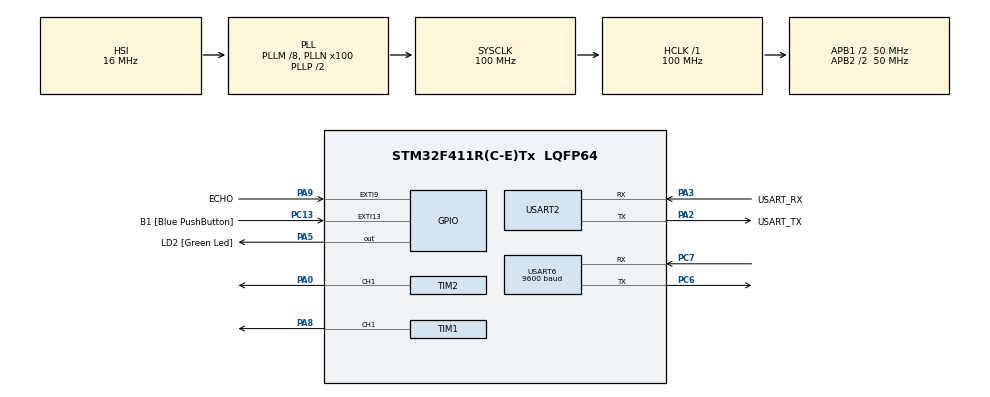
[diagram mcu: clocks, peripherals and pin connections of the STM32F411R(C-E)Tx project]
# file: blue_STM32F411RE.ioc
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Dma.Request0=USART6_RX
Dma.Request1=USART6_TX
Dma.USART6_RX.0.Direction=DMA_PERIPH_TO_MEMORY
Dma.USART6_RX.0.FIFOMode=DMA_FIFOMODE_DISABLE
Dma.USART6_RX.0.Instance=DMA2_Stream1
Dma.USART6_RX.0.MemDataAlignment=DMA_MDATAALIGN_BYTE
Dma.USART6_RX.0.MemInc=DMA_MINC_ENABLE
Dma.USART6_RX.0.Mode=DMA_NORMAL
Dma.USART6_RX.0.PeriphDataAlignment=DMA_PDATAALIGN_BYTE
Dma.USART6_RX.0.PeriphInc=DMA_PINC_DISABLE
Dma.USART6_RX.0.Priority=DMA_PRIORITY_LOW
Dma.USART6_TX.1.Direction=DMA_MEMORY_TO_PERIPH
Dma.USART6_TX.1.FIFOMode=DMA_FIFOMODE_DISABLE
Dma.USART6_TX.1.Instance=DMA2_Stream6
Dma.USART6_TX.1.MemDataAlignment=DMA_MDATAALIGN_BYTE
Dma.USART6_TX.1.MemInc=DMA_MINC_ENABLE
Dma.USART6_TX.1.Mode=DMA_NORMAL
Dma.USART6_TX.1.PeriphDataAlignment=DMA_PDATAALIGN_BYTE
Dma.USART6_TX.1.PeriphInc=DMA_PINC_DISABLE
Dma.USART6_TX.1.Priority=DMA_PRIORITY_LOW
Mcu.Family=STM32F4
Mcu.Name=STM32F411R(C-E)Tx
Mcu.Package=LQFP64
NVIC.DMA2_Stream1_IRQn=true\:0\:0\:false\:false\:true\:false\:true\:true
NVIC.DMA2_Stream6_IRQn=true\:0\:0\:false\:false\:true\:false\:true\:true
NVIC.EXTI9_5_IRQn=true\:0\:0\:false\:false\:true\:true\:true\:true
NVIC.PriorityGroup=NVIC_PRIORITYGROUP_0
NVIC.USART6_IRQn=true\:0\:0\:false\:false\:true\:true\:true\:true
PA0-WKUP.Signal=S_TIM2_CH1_ETR
PA13.GPIO_Label=TMS
PA13.Mode=Serial_Wire
PA13.Signal=SYS_JTMS-SWDIO
PA14.GPIO_Label=TCK
PA14.Mode=Serial_Wire
PA14.Signal=SYS_JTCK-SWCLK
PA2.GPIO_Label=USART_TX
PA2.Mode=Asynchronous
PA2.Signal=USART2_TX
PA3.GPIO_Label=USART_RX
PA3.Mode=Asynchronous
PA3.Signal=USART2_RX
PA5.GPIO_Label=LD2 [Green Led]
PA5.Signal=GPIO_Output
PA8.Signal=S_TIM1_CH1
PA9.GPIO_Label=ECHO
PA9.GPIO_ModeDefaultEXTI=GPIO_MODE_IT_FALLING
PA9.Signal=GPXTI9
PB3.GPIO_Label=SWO
PB3.Signal=SYS_JTDO-SWO
PC13-ANTI_TAMP.GPIO_Label=B1 [Blue PushButton]
PC13-ANTI_TAMP.GPIO_ModeDefaultEXTI=GPIO_MODE_IT_FALLING
PC13-ANTI_TAMP.Signal=GPXTI13
PC14-OSC32_IN.Mode=LSE-External-Oscillator
PC14-OSC32_IN.Signal=RCC_OSC32_IN
PC15-OSC32_OUT.Mode=LSE-External-Oscillator
PC15-OSC32_OUT.Signal=RCC_OSC32_OUT
PC6.Mode=Asynchronous
PC6.Signal=USART6_TX
PC7.Mode=Asynchronous
PC7.Signal=USART6_RX
PH0\ -\ OSC_IN.Mode=HSE-External-Clock-Source
PH0\ -\ OSC_IN.Signal=RCC_OSC_IN
PH1\ -\ OSC_OUT.Mode=HSE-External-Clock-Source
PH1\ -\ OSC_OUT.Signal=RCC_OSC_OUT
ProjectManager.HeapSize=0x200
ProjectManager.StackSize=0x400
ProjectManager.TargetToolchain=STM32CubeIDE
RCC.48MHZClocksFreq_Value=50000000
RCC.AHBFreq_Value=100000000
RCC.APB1CLKDivider=RCC_HCLK_DIV2
RCC.APB1Freq_Value=50000000
RCC.APB1TimFreq_Value=100000000
RCC.APB2CLKDivider=RCC_HCLK_DIV2
RCC.APB2Freq_Value=50000000
RCC.APB2TimFreq_Value=100000000
RCC.CortexFreq_Value=100000000
RCC.FLatency-AdvancedSettings=FLASH_LATENCY_3
RCC.HCLKFreq_Value=100000000
RCC.HSE_VALUE=8000000
RCC.HSI_VALUE=16000000
RCC.PLLM=8
RCC.PLLN=100
RCC.SYSCLKFreq_VALUE=100000000
RCC.SYSCLKSource=RCC_SYSCLKSOURCE_PLLCLK
RCC.VCOOutputFreq_Value=200000000
SH.S_TIM1_CH1.0=TIM1_CH1,PWM Generation1 CH1
SH.S_TIM2_CH1_ETR.0=TIM2_CH1,PWM Generation1 CH1
TIM1.Channel-PWM\ Generation1\ CH1=TIM_CHANNEL_1
TIM1.Period=5000
TIM1.Prescaler=1000
TIM1.Pulse-PWM\ Generation1\ CH1=5
TIM2.Channel-PWM\ Generation1\ CH1=TIM_CHANNEL_1
TIM2.Period=1000
TIM2.Pulse-PWM\ Generation1\ CH1=0
USART2.VirtualMode=VM_ASYNC
USART6.BaudRate=9600
USART6.VirtualMode=VM_ASYNC
VP_TIM1_VS_ClockSourceINT.Mode=Internal
VP_TIM2_VS_ClockSourceINT.Mode=Internal
board=NUCLEO-F411RE

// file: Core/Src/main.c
/* USER CODE BEGIN Header */
/**
  ******************************************************************************
  * @file           : main.c
  * @brief          : Main program body
  ******************************************************************************
  * @attention
  *
  * Copyright (c) 2025 STMicroelectronics.
  * All rights reserved.
  *
  * This software is licensed under terms that can be found in the LICENSE file
  * in the root directory of this software component.
  * If no LICENSE file comes with this software, it is provided AS-IS.
  *
  ******************************************************************************
  */
/* USER CODE END Header */
#include "main.h"

/* USER CODE BEGIN Includes */
#include <string.h>
#include "paser.h"
/* USER CODE END Includes */

/* USER CODE BEGIN PD */
#define MAX_CMD_LEN 10
#define BUFFER_LEN 200
/* USER CODE END PD */

TIM_HandleTypeDef htim1;
TIM_HandleTypeDef htim2;

UART_HandleTypeDef huart2;
UART_HandleTypeDef huart6;
DMA_HandleTypeDef hdma_usart6_rx;
DMA_HandleTypeDef hdma_usart6_tx;

void SystemClock_Config(void);
static void MX_GPIO_Init(void);
static void MX_DMA_Init(void);
static void MX_USART2_UART_Init(void);
static void MX_USART6_UART_Init(void);
static void MX_TIM1_Init(void);
static void MX_TIM2_Init(void);

/* USER CODE BEGIN 0 */
/**************************/
//bluetooth
uint8_t tx_flag = 0;
uint8_t rx_flag = 0;

char rx_l_buf = 0;
uint32_t rx_header = 0;
uint32_t rx_length = 0;

char blue_tx_buf[BUFFER_LEN];
char blue_rx_buf[BUFFER_LEN];

uint8_t all_count = 0;

char* cmd[MAX_CMD_LEN];

/**************************/
//distance sensor
uint32_t trg_clk = 5;
uint32_t echo_clk = 0;
uint32_t d_clk = 0;

uint32_t sonic_start_tick = 0;
const uint32_t sonic_d_tick = 2000;

uint32_t sonic_past = 0;
const uint32_t dd_clk = 120;

uint8_t fall_detected = 0;

uint32_t debug_past_clk = 0;
uint32_t debug_now_clk = 0;

/**************************/
//motor
const uint32_t motor_d_tick = 2000;
const uint32_t motor_duty =1000;
const uint32_t motor_duty_s = 50;

uint32_t motor_start_tick = 0;
uint8_t motor_flag = 0;

uint32_t debug_tick = 0;

/**************************/
//callback
void HAL_UART_RxCpltCallback(UART_HandleTypeDef *huart){
	if(rx_header >= BUFFER_LEN){
		rx_header = 0;
	}
	if(rx_l_buf == '\r' || rx_l_buf == '\n'){
		rx_flag = 1;
		rx_length = rx_header;
		rx_header = 0;
	}else{
		blue_rx_buf[rx_header] = rx_l_buf;
		rx_header++;
	}

	HAL_UART_Receive_DMA(&huart6, (uint8_t*)&rx_l_buf, 1);
}

void HAL_GPIO_EXTI_Callback(uint16_t GPIO_Pin){
	if(GPIO_Pin == ECHO_Pin){
		echo_clk = htim1.Instance->CNT;
		if(echo_clk > 300) echo_clk = 300+trg_clk;
	}
}

void read_rx_buf(){
	if(rx_flag == 1){
		parse_order_string(blue_rx_buf);
		memset(blue_rx_buf, 0, rx_length);
		all_count = get_total_quantity();
		rx_flag = 0;
	}
}

void measure_distance(){
	  //flag
	if(echo_clk > trg_clk){
		d_clk = echo_clk - trg_clk;
	}
}

void detect_falling(){
	if(abs((d_clk - sonic_past)>dd_clk && sonic_past != 0) && (sonic_past > d_clk)){
		debug_past_clk = sonic_past;
		debug_now_clk = d_clk;
		fall_detected = 1;
		sonic_start_tick = HAL_GetTick();
	}
	sonic_past = d_clk;
}

/* USER CODE END 0 */

int main(void)
{

  /* MCU Configuration--------------------------------------------------------*/

  /* Reset of all peripherals, Initializes the Flash interface and the Systick. */
  HAL_Init();

  /* Configure the system clock */
  SystemClock_Config();

  /* Initialize all configured peripherals */
  MX_GPIO_Init();
  MX_DMA_Init();
  MX_USART2_UART_Init();
  MX_USART6_UART_Init();
  MX_TIM1_Init();
  MX_TIM2_Init();
  /* USER CODE BEGIN 2 */
  HAL_UART_Receive_DMA(&huart6, (uint8_t*)&rx_l_buf, 1);
  HAL_TIM_PWM_Start(&htim1, TIM_CHANNEL_1);
  HAL_TIM_PWM_Start(&htim2, TIM_CHANNEL_1);

  htim2.Instance->CCR1 = 0;
  /* USER CODE END 2 */

  /* Infinite loop */
  /* USER CODE BEGIN WHILE */
  while (1)
  {
	  read_rx_buf();
	  measure_distance();
	  //sampling
	  if((HAL_GetTick() - sonic_start_tick) > sonic_d_tick){
		  detect_falling();
	  }

	  if((all_count > 0) && (motor_flag != 1)){
		  motor_flag = 1;
		  motor_start_tick = HAL_GetTick();
		  fall_detected = 0;
	  }

	  debug_tick = HAL_GetTick();

	  //active
	  if(motor_flag == 1){
		  if((HAL_GetTick() - motor_start_tick) > motor_d_tick){
			  htim2.Instance->CCR1 = 0;
		  }
		  else if(motor_start_tick > HAL_GetTick()){
			  motor_start_tick = HAL_GetTick();
		  }else{
			  htim2.Instance->CCR1 = motor_duty;
		  }
		  if(fall_detected == 1){
			  htim2.Instance->CCR1 = 0;
			  motor_flag = 0;
			  all_count--;
		  }

	  }
    /* USER CODE END WHILE */

  }
}

void SystemClock_Config(void)
{
  RCC_OscInitTypeDef RCC_OscInitStruct = {0};
  RCC_ClkInitTypeDef RCC_ClkInitStruct = {0};

  /** Configure the main internal regulator output voltage
  */
  __HAL_RCC_PWR_CLK_ENABLE();
  __HAL_PWR_VOLTAGESCALING_CONFIG(PWR_REGULATOR_VOLTAGE_SCALE1);

  /** Initializes the RCC Oscillators according to the specified parameters
  * in the RCC_OscInitTypeDef structure.
  */
  RCC_OscInitStruct.OscillatorType = RCC_OSCILLATORTYPE_HSI;
  RCC_OscInitStruct.HSIState = RCC_HSI_ON;
  RCC_OscInitStruct.HSICalibrationValue = RCC_HSICALIBRATION_DEFAULT;
  RCC_OscInitStruct.PLL.PLLState = RCC_PLL_ON;
  RCC_OscInitStruct.PLL.PLLSource = RCC_PLLSOURCE_HSI;
  RCC_OscInitStruct.PLL.PLLM = 8;
  RCC_OscInitStruct.PLL.PLLN = 100;
  RCC_OscInitStruct.PLL.PLLP = RCC_PLLP_DIV2;
  RCC_OscInitStruct.PLL.PLLQ = 4;
  if (HAL_RCC_OscConfig(&RCC_OscInitStruct) != HAL_OK)
  {
    Error_Handler();
  }

  /** Initializes the CPU, AHB and APB buses clocks
  */
  RCC_ClkInitStruct.ClockType = RCC_CLOCKTYPE_HCLK|RCC_CLOCKTYPE_SYSCLK
                              |RCC_CLOCKTYPE_PCLK1|RCC_CLOCKTYPE_PCLK2;
  RCC_ClkInitStruct.SYSCLKSource = RCC_SYSCLKSOURCE_PLLCLK;
  RCC_ClkInitStruct.AHBCLKDivider = RCC_SYSCLK_DIV1;
  RCC_ClkInitStruct.APB1CLKDivider = RCC_HCLK_DIV2;
  RCC_ClkInitStruct.APB2CLKDivider = RCC_HCLK_DIV2;

  if (HAL_RCC_ClockConfig(&RCC_ClkInitStruct, FLASH_LATENCY_3) != HAL_OK)
  {
    Error_Handler();
  }
}

static void MX_TIM1_Init(void)
{

  TIM_ClockConfigTypeDef sClockSourceConfig = {0};
  TIM_MasterConfigTypeDef sMasterConfig = {0};
  TIM_OC_InitTypeDef sConfigOC = {0};
  TIM_BreakDeadTimeConfigTypeDef sBreakDeadTimeConfig = {0};

  htim1.Instance = TIM1;
  htim1.Init.Prescaler = 1000;
  htim1.Init.CounterMode = TIM_COUNTERMODE_UP;
  htim1.Init.Period = 5000;
  htim1.Init.ClockDivision = TIM_CLOCKDIVISION_DIV1;
  htim1.Init.RepetitionCounter = 0;
  htim1.Init.AutoReloadPreload = TIM_AUTORELOAD_PRELOAD_DISABLE;
  if (HAL_TIM_Base_Init(&htim1) != HAL_OK)
  {
    Error_Handler();
  }
  sClockSourceConfig.ClockSource = TIM_CLOCKSOURCE_INTERNAL;
  if (HAL_TIM_ConfigClockSource(&htim1, &sClockSourceConfig) != HAL_OK)
  {
    Error_Handler();
  }
  if (HAL_TIM_PWM_Init(&htim1) != HAL_OK)
  {
    Error_Handler();
  }
  sMasterConfig.MasterOutputTrigger = TIM_TRGO_RESET;
  sMasterConfig.MasterSlaveMode = TIM_MASTERSLAVEMODE_DISABLE;
  if (HAL_TIMEx_MasterConfigSynchronization(&htim1, &sMasterConfig) != HAL_OK)
  {
    Error_Handler();
  }
  sConfigOC.OCMode = TIM_OCMODE_PWM1;
  sConfigOC.Pulse = 5;
  sConfigOC.OCPolarity = TIM_OCPOLARITY_HIGH;
  sConfigOC.OCNPolarity = TIM_OCNPOLARITY_HIGH;
  sConfigOC.OCFastMode = TIM_OCFAST_DISABLE;
  sConfigOC.OCIdleState = TIM_OCIDLESTATE_RESET;
  sConfigOC.OCNIdleState = TIM_OCNIDLESTATE_RESET;
  if (HAL_TIM_PWM_ConfigChannel(&htim1, &sConfigOC, TIM_CHANNEL_1) != HAL_OK)
  {
    Error_Handler();
  }
  sBreakDeadTimeConfig.OffStateRunMode = TIM_OSSR_DISABLE;
  sBreakDeadTimeConfig.OffStateIDLEMode = TIM_OSSI_DISABLE;
  sBreakDeadTimeConfig.LockLevel = TIM_LOCKLEVEL_OFF;
  sBreakDeadTimeConfig.DeadTime = 0;
  sBreakDeadTimeConfig.BreakState = TIM_BREAK_DISABLE;
  sBreakDeadTimeConfig.BreakPolarity = TIM_BREAKPOLARITY_HIGH;
  sBreakDeadTimeConfig.AutomaticOutput = TIM_AUTOMATICOUTPUT_DISABLE;
  if (HAL_TIMEx_ConfigBreakDeadTime(&htim1, &sBreakDeadTimeConfig) != HAL_OK)
  {
    Error_Handler();
  }
  HAL_TIM_MspPostInit(&htim1);

}

static void MX_TIM2_Init(void)
{

  TIM_ClockConfigTypeDef sClockSourceConfig = {0};
  TIM_MasterConfigTypeDef sMasterConfig = {0};
  TIM_OC_InitTypeDef sConfigOC = {0};

  htim2.Instance = TIM2;
  htim2.Init.Prescaler = 0;
  htim2.Init.CounterMode = TIM_COUNTERMODE_UP;
  htim2.Init.Period = 1000;
  htim2.Init.ClockDivision = TIM_CLOCKDIVISION_DIV1;
  htim2.Init.AutoReloadPreload = TIM_AUTORELOAD_PRELOAD_DISABLE;
  if (HAL_TIM_Base_Init(&htim2) != HAL_OK)
  {
    Error_Handler();
  }
  sClockSourceConfig.ClockSource = TIM_CLOCKSOURCE_INTERNAL;
  if (HAL_TIM_ConfigClockSource(&htim2, &sClockSourceConfig) != HAL_OK)
  {
    Error_Handler();
  }
  if (HAL_TIM_PWM_Init(&htim2) != HAL_OK)
  {
    Error_Handler();
  }
  sMasterConfig.MasterOutputTrigger = TIM_TRGO_RESET;
  sMasterConfig.MasterSlaveMode = TIM_MASTERSLAVEMODE_DISABLE;
  if (HAL_TIMEx_MasterConfigSynchronization(&htim2, &sMasterConfig) != HAL_OK)
  {
    Error_Handler();
  }
  sConfigOC.OCMode = TIM_OCMODE_PWM1;
  sConfigOC.Pulse = 0;
  sConfigOC.OCPolarity = TIM_OCPOLARITY_HIGH;
  sConfigOC.OCFastMode = TIM_OCFAST_DISABLE;
  if (HAL_TIM_PWM_ConfigChannel(&htim2, &sConfigOC, TIM_CHANNEL_1) != HAL_OK)
  {
    Error_Handler();
  }
  HAL_TIM_MspPostInit(&htim2);

}

static void MX_USART2_UART_Init(void)
{

  huart2.Instance = USART2;
  huart2.Init.BaudRate = 115200;
  huart2.Init.WordLength = UART_WORDLENGTH_8B;
  huart2.Init.StopBits = UART_STOPBITS_1;
  huart2.Init.Parity = UART_PARITY_NONE;
  huart2.Init.Mode = UART_MODE_TX_RX;
  huart2.Init.HwFlowCtl = UART_HWCONTROL_NONE;
  huart2.Init.OverSampling = UART_OVERSAMPLING_16;
  if (HAL_UART_Init(&huart2) != HAL_OK)
  {
    Error_Handler();
  }

}

static void MX_USART6_UART_Init(void)
{

  huart6.Instance = USART6;
  huart6.Init.BaudRate = 9600;
  huart6.Init.WordLength = UART_WORDLENGTH_8B;
  huart6.Init.StopBits = UART_STOPBITS_1;
  huart6.Init.Parity = UART_PARITY_NONE;
  huart6.Init.Mode = UART_MODE_TX_RX;
  huart6.Init.HwFlowCtl = UART_HWCONTROL_NONE;
  huart6.Init.OverSampling = UART_OVERSAMPLING_16;
  if (HAL_UART_Init(&huart6) != HAL_OK)
  {
    Error_Handler();
  }

}

static void MX_DMA_Init(void)
{

  /* DMA controller clock enable */
  __HAL_RCC_DMA2_CLK_ENABLE();

  /* DMA interrupt init */
  /* DMA2_Stream1_IRQn interrupt configuration */
  HAL_NVIC_SetPriority(DMA2_Stream1_IRQn, 0, 0);
  HAL_NVIC_EnableIRQ(DMA2_Stream1_IRQn);
  /* DMA2_Stream6_IRQn interrupt configuration */
  HAL_NVIC_SetPriority(DMA2_Stream6_IRQn, 0, 0);
  HAL_NVIC_EnableIRQ(DMA2_Stream6_IRQn);

}

static void MX_GPIO_Init(void)
{
  GPIO_InitTypeDef GPIO_InitStruct = {0};

  /* GPIO Ports Clock Enable */
  __HAL_RCC_GPIOC_CLK_ENABLE();
  __HAL_RCC_GPIOH_CLK_ENABLE();
  __HAL_RCC_GPIOA_CLK_ENABLE();
  __HAL_RCC_GPIOB_CLK_ENABLE();

  /*Configure GPIO pin Output Level */
  HAL_GPIO_WritePin(LD2_GPIO_Port, LD2_Pin, GPIO_PIN_RESET);

  /*Configure GPIO pin : B1_Pin */
  GPIO_InitStruct.Pin = B1_Pin;
  GPIO_InitStruct.Mode = GPIO_MODE_IT_FALLING;
  GPIO_InitStruct.Pull = GPIO_NOPULL;
  HAL_GPIO_Init(B1_GPIO_Port, &GPIO_InitStruct);

  /*Configure GPIO pin : LD2_Pin */
  GPIO_InitStruct.Pin = LD2_Pin;
  GPIO_InitStruct.Mode = GPIO_MODE_OUTPUT_PP;
  GPIO_InitStruct.Pull = GPIO_NOPULL;
  GPIO_InitStruct.Speed = GPIO_SPEED_FREQ_LOW;
  HAL_GPIO_Init(LD2_GPIO_Port, &GPIO_InitStruct);

  /*Configure GPIO pin : ECHO_Pin */
  GPIO_InitStruct.Pin = ECHO_Pin;
  GPIO_InitStruct.Mode = GPIO_MODE_IT_FALLING;
  GPIO_InitStruct.Pull = GPIO_NOPULL;
  HAL_GPIO_Init(ECHO_GPIO_Port, &GPIO_InitStruct);

  /* EXTI interrupt init*/
  HAL_NVIC_SetPriority(EXTI9_5_IRQn, 0, 0);
  HAL_NVIC_EnableIRQ(EXTI9_5_IRQn);

}

void Error_Handler(void)
{
  __disable_irq();
  while (1)
  {
  }
}
